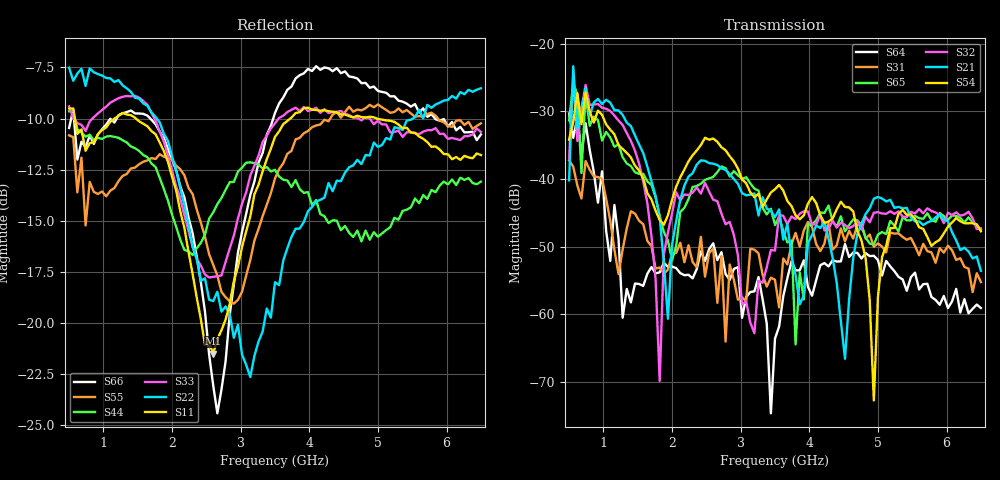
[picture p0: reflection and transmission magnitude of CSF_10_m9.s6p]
!Keysight Technologies,M9804A,MY58100912,A.14.10.03
!Date: Thursday, April 27, 2023 10:28:33
!Correction: S11(C  6-Port  )
!S12(C  6-Port  )
!S13(C  6-Port  )
!S14(C  6-Port  )
!S15(C  6-Port  )
!S16(C  6-Port  )
!S21(C  6-Port  )
!S22(C  6-Port  )
!S23(C  6-Port  )
!S24(C  6-Port  )
!S25(C  6-Port  )
!S26(C  6-Port  )
!S31(C  6-Port  )
!S32(C  6-Port  )
!S33(C  6-Port  )
!S34(C  6-Port  )
!S35(C  6-Port  )
!S36(C  6-Port  )
!S41(C  6-Port  )
!S42(C  6-Port  )
!S43(C  6-Port  )
!S44(C  6-Port  )
!S45(C  6-Port  )
!S46(C  6-Port  )
!S51(C  6-Port  )
!S52(C  6-Port  )
!S53(C  6-Port  )
!S54(C  6-Port  )
!S55(C  6-Port  )
!S56(C  6-Port  )
!S61(C  6-Port  )
!S62(C  6-Port  )
!S63(C  6-Port  )
!S64(C  6-Port  )
!S65(C  6-Port  )
!S66(C  6-Port  )
!S6P File: Measurement: :
# Hz S  RI  R 50
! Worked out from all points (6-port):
!   101 points, 500 MHz to 6.5 GHz, reference 50 ohm
!   strongest paths, dB at 500 MHz, 2 GHz, 3.5 GHz, 5 GHz, 6.5 GHz:
!     S54: -34.2, -43.1, -41.5, -57.4, -47.7
!     S21: -40.2, -49.7, -45.6, -42.6, -53.6
!     S32: -36.9, -45.1, -50.6, -44.9, -47.3
!     S65: -31.4, -52.0, -46.8, -48.2, -47.5
!     S31: -37.3, -51.0, -54.9, -49.5, -55.2
!     S64: -30.3, -52.9, -63.6, -52.0, -59.0
!   lowest |S11| = -21.5 dB at 2.6 GHz (marker M1), VSWR 1.18, Z = 42.5 + j1.99 ohm
!   |S11| at or under -10 dB: 584 MHz to 1.162 GHz (577.7 MHz wide, 66.2 % of centre); 1.475 GHz to 3.722 GHz (2.247 GHz wide, 86.5 % of centre); 4.986 GHz to end of sweep
